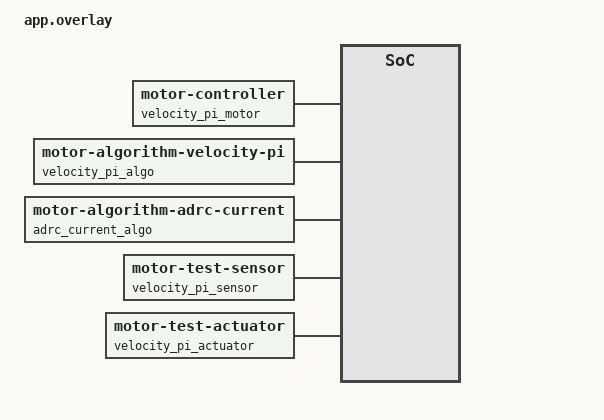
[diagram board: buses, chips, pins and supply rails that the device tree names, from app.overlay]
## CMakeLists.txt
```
# Copyright (c) 2026 Freedom Veiculos Eletricos
# SPDX-License-Identifier: Apache-2.0

cmake_minimum_required(VERSION 3.20.0)
find_package(Zephyr REQUIRED HINTS $ENV{ZEPHYR_BASE})
project(motor_algo_velocity_pi_test)

target_sources(app PRIVATE src/main.c ../common/motor_test_fake.c)
target_include_directories(app PRIVATE ../common
			   ${CMAKE_CURRENT_SOURCE_DIR}/../../../subsys/motor/include)
```

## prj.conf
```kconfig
CONFIG_ZTEST=y
CONFIG_FORTIFY_SOURCE_NONE=y

CONFIG_MOTOR_CONTROL_TEST_API=y
CONFIG_MOTOR_CONTROL_LIB=y
CONFIG_MOTOR_SUBSYS=y
CONFIG_MOTOR_SUBSYS_AUTO_INIT=n
```

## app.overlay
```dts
/ {
	velocity_pi_motor: motor-controller {
		compatible = "zephyr,motor-controller";
		status = "okay";

		sensor = <&velocity_pi_sensor>;
		actuator = <&velocity_pi_actuator>;
		algorithm = <&velocity_pi_algo &adrc_current_algo>;
	};

	velocity_pi_algo: motor-algorithm-velocity-pi {
		compatible = "zephyr,motor-algorithm-velocity-pi";
		status = "okay";

		velocity-pi-kp-milli = <1000>;
		velocity-pi-ki-milli = <100>;
		velocity-pll-kp-milli = <20000>;
		velocity-pll-ki-milli = <100000>;
		i-max-ma = <3000>;
	};

	adrc_current_algo: motor-algorithm-adrc-current {
		compatible = "zephyr,motor-algorithm-adrc-current";
		status = "okay";

		adrc-current-kp-milli = <1000>;
		adrc-current-b0-milli = <1000>;
		adrc-current-beta1-milli = <0>;
		adrc-current-beta2-milli = <0>;
		adrc-current-out-min-milli = <(-1000)>;
		adrc-current-out-max-milli = <1000>;
		i-max-ma = <5000>;
	};

	velocity_pi_sensor: motor-test-sensor {
		compatible = "zephyr,motor-test-sensor";
		status = "okay";
	};

	velocity_pi_actuator: motor-test-actuator {
		compatible = "zephyr,motor-test-actuator";
		status = "okay";
		pwm-frequency = <20000>;
		slow-sample-div = <10>;
	};
};
```

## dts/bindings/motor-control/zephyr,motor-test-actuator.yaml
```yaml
# Copyright (c) 2026 Zephyr Motor Control Contributors
# SPDX-License-Identifier: Apache-2.0

description: Test-only motor actuator binding for native_sim unit tests.

compatible: "zephyr,motor-test-actuator"

include: base.yaml

properties:
  pwm-frequency:
    type: int
    required: true
    description: Fake actuator PWM frequency in Hz.

  slow-sample-div:
    type: int
    default: 10
    description: Outer-loop rate divisor relative to PWM period.
```

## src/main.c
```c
/*
 * Copyright (c) 2026 Zephyr Motor Control Contributors
 *
 * SPDX-License-Identifier: Apache-2.0
 */

#include <math.h>

#include <zephyr/device.h>
#include <zephyr/kernel.h>
#include <zephyr/subsys/motor/algorithms/velocity_pi/motor_algo_velocity_pi.h>
#include <zephyr/subsys/motor/motor.h>
#include <zephyr/subsys/motor/motor_subsys.h>
#include <zephyr/ztest.h>

#include "motor_algo_velocity_pi_priv.h"
#include "motor_test_fake.h"

#ifndef M_PI
#define M_PI 3.14159265358979323846
#endif

static struct motor_test_fake velocity_pi_fake;

DEVICE_DT_DEFINE(DT_NODELABEL(velocity_pi_sensor), motor_test_fake_sensor_init, NULL,
		 &velocity_pi_fake, NULL, POST_KERNEL, CONFIG_KERNEL_INIT_PRIORITY_DEVICE,
		 &motor_test_fake_sensor_ops);
DEVICE_DT_DEFINE(DT_NODELABEL(velocity_pi_actuator), motor_test_fake_actuator_init, NULL,
		 &velocity_pi_fake, NULL, POST_KERNEL, CONFIG_KERNEL_INIT_PRIORITY_DEVICE,
		 &motor_test_fake_actuator_ops);

static void *suite_setup(void)
{
	zassert_equal(motor_subsys_init(), 0, NULL);
	return NULL;
}

ZTEST_SUITE(motor_algo_velocity_pi_suite, NULL, suite_setup, NULL, NULL, NULL);

ZTEST(motor_algo_velocity_pi_suite, test_rejects_invalid_limits)
{
	motor_t motor = motor_subsys_get_by_label("velocity_pi_motor");
	struct motor_velocity_pi_limits bad = {
		.i_max_a = 0.0f,
	};

	zassert_not_null(motor, NULL);
	zassert_equal(motor_enable(motor), 0, NULL);
	zassert_equal(motor_algo_velocity_pi_set_limits(motor, &bad), -EINVAL, NULL);
	motor_estop(motor);
}

ZTEST(motor_algo_velocity_pi_suite, test_set_velocity_and_status)
{
	motor_t motor = motor_subsys_get_by_label("velocity_pi_motor");
	struct motor_velocity_pi_state state;

	zassert_not_null(motor, NULL);
	zassert_equal(motor_enable(motor), 0, NULL);
	zassert_equal(motor_algo_velocity_pi_set_velocity(motor, 10.0f), 0, NULL);
	zassert_equal(motor_algo_velocity_pi_get_state(motor, &state), 0, NULL);
	zassert_within(state.v_ref_rad_s, 10.0f, 1e-6f, NULL);
	motor_estop(motor);
}

ZTEST(motor_algo_velocity_pi_suite, test_pll_tracks_constant_speed_angle)
{
	struct motor_algo_velocity_pi_data vel = {
		MOTOR_ALGO_VELOCITY_PI_BASE_INITIALIZER
		.state = {0},
		.params =
			{
				.kp = 0.1f,
				.ki = 0.0f,
				.pll_kp = 40.0f,
				.pll_ki = 400.0f,
			},
		.limits = {.i_max_a = 3.0f},
		.timing = {.control_loop_dt_s = 10.0f / 20000.0f},
	};
	struct motor_sense_bundle sense = {0};
	struct motor_block_in in = {.sense = &sense};
	struct motor_block_out out = {0};
	const float omega = 5.0f;
	const float dt = vel.timing.control_loop_dt_s;
	float theta = 0.0f;

	motor_velocity_pi_block_set_params(&vel.base);
	vel.state.v_ref_rad_s = omega;

	for (int i = 0; i < 200; i++) {
		theta += omega * dt;
		while (theta > (float)M_PI) {
			theta -= 2.0f * (float)M_PI;
		}
		sense.angle_rad = theta;
		sense.angle_valid = true;
		motor_velocity_pi_block_entry(&vel.base, &in, &out);
	}

	zassert_true(out.has_current_ref, NULL);
	zassert_within(vel.state.omega_hat_rad_s, omega, 1.0f, NULL);
}

static struct motor_algo_velocity_pi_data make_open_loop_startup_vel(float startup_a)
{
	struct motor_algo_velocity_pi_data vel = {
		MOTOR_ALGO_VELOCITY_PI_BASE_INITIALIZER
		.state = {0},
		.params =
			{
				.kp = 0.1f,
				.ki = 1.0f,
				.pll_kp = 40.0f,
				.pll_ki = 400.0f,
			},
		.limits = {.i_max_a = 3.0f, .open_loop_startup_a = startup_a},
		.timing = {.control_loop_dt_s = 0.001f},
	};

	motor_velocity_pi_block_set_params(&vel.base);

	return vel;
}

ZTEST(motor_algo_velocity_pi_suite, test_open_loop_startup_follows_command_sign)
{
	struct motor_algo_velocity_pi_data vel = make_open_loop_startup_vel(0.8f);
	struct motor_sense_bundle sense = {.angle_valid = false};
	struct motor_block_in in = {.sense = &sense};
	struct motor_block_out out = {0};

	vel.state.v_ref_rad_s = 50.0f;
	motor_velocity_pi_block_entry(&vel.base, &in, &out);
	zassert_true(out.has_current_ref, NULL);
	zassert_within(out.current_ref_a, 0.8f, 1e-6f, NULL);

	vel.state.v_ref_rad_s = -50.0f;
	motor_velocity_pi_block_entry(&vel.base, &in, &out);
	zassert_within(out.current_ref_a, -0.8f, 1e-6f, NULL);

	vel.state.v_ref_rad_s = 0.0f;
	motor_velocity_pi_block_entry(&vel.base, &in, &out);
	zassert_within(out.current_ref_a, 0.0f, 1e-6f, "a zero command must not push current");
}

ZTEST(motor_algo_velocity_pi_suite, test_open_loop_startup_hands_over_to_closed_loop)
{
	struct motor_algo_velocity_pi_data vel = make_open_loop_startup_vel(0.8f);
	struct motor_sense_bundle sense = {.angle_valid = false};
	struct motor_block_in in = {.sense = &sense};
	struct motor_block_out out = {0};

	vel.state.v_ref_rad_s = 50.0f;
	for (int i = 0; i < 100; i++) {
		motor_velocity_pi_block_entry(&vel.base, &in, &out);
	}
	zassert_within(vel.i_integral, 0.8f, 1e-6f,
		       "the integrator must carry the startup current, not wind up");

	/* A small error keeps the first closed-loop reference off i_max, where
	 * a missing preload would show: kp * 5 alone is only 0.5 A.
	 */
	vel.state.v_ref_rad_s = 5.0f;
	sense.angle_valid = true;
	sense.angle_rad = 0.1f;
	motor_velocity_pi_block_entry(&vel.base, &in, &out);

	zassert_true(vel.pll_primed, "the PLL must re-prime on the first valid angle");
	zassert_within(vel.state.theta_hat_rad, 0.1f, 1e-6f, NULL);
	/* The re-primed PLL reads omega_hat = 0, so the error is the whole 5 rad/s. */
	zassert_within(out.current_ref_a, 0.8f + 0.1f * 5.0f + 1.0f * 0.001f * 5.0f, 1e-4f,
		       "the first closed-loop reference must start from the startup current");
}

ZTEST(motor_algo_velocity_pi_suite, test_open_loop_with_zero_command_clears_integrator)
{
	struct motor_algo_velocity_pi_data vel = make_open_loop_startup_vel(0.8f);
	struct motor_sense_bundle sense = {.angle_valid = false};
	struct motor_block_in in = {.sense = &sense};
	struct motor_block_out out = {0};

	vel.i_integral = 1.5f;
	vel.state.v_ref_rad_s = 0.0f;
	motor_velocity_pi_block_entry(&vel.base, &in, &out);

	zassert_within(vel.i_integral, 0.0f, 1e-6f,
		       "a stop below the valid band must not leave current preloaded");
}

ZTEST(motor_algo_velocity_pi_suite, test_without_startup_current_reference_is_held)
{
	struct motor_algo_velocity_pi_data vel = make_open_loop_startup_vel(0.0f);
	struct motor_sense_bundle sense = {.angle_valid = false};
	struct motor_block_in in = {.sense = &sense};
	struct motor_block_out out = {0};

	vel.state.i_ref_a = 1.25f;
	vel.state.v_ref_rad_s = 50.0f;

	motor_velocity_pi_block_entry(&vel.base, &in, &out);

	zassert_within(out.current_ref_a, 1.25f, 1e-6f, NULL);
}

ZTEST(motor_algo_velocity_pi_suite, test_rejects_startup_current_above_limit)
{
	motor_t motor = motor_subsys_get_by_label("velocity_pi_motor");
	struct motor_velocity_pi_limits limits = {
		.i_max_a = 3.0f,
		.open_loop_startup_a = 3.5f,
	};

	zassert_not_null(motor, NULL);
	zassert_equal(motor_algo_velocity_pi_set_limits(motor, &limits), -EINVAL, NULL);

	limits.open_loop_startup_a = -0.1f;
	zassert_equal(motor_algo_velocity_pi_set_limits(motor, &limits), -EINVAL, NULL);

	limits.open_loop_startup_a = 1.0f;
	zassert_equal(motor_algo_velocity_pi_set_limits(motor, &limits), 0, NULL);
}

ZTEST(motor_algo_velocity_pi_suite, test_pi_saturates_current_ref)
{
	struct motor_algo_velocity_pi_data vel = {
		MOTOR_ALGO_VELOCITY_PI_BASE_INITIALIZER
		.state = {0},
		.params =
			{
				.kp = 10.0f,
				.ki = 0.0f,
				.pll_kp = 0.0f,
				.pll_ki = 0.0f,
			},
		.limits = {.i_max_a = 1.5f},
		.timing = {.control_loop_dt_s = 0.001f},
		.pll_primed = true,
	};
	struct motor_sense_bundle sense = {
		.angle_rad = 0.0f,
		.angle_valid = true,
	};
	struct motor_block_in in = {.sense = &sense};
	struct motor_block_out out = {0};

	motor_velocity_pi_block_set_params(&vel.base);
	vel.state.v_ref_rad_s = 100.0f;
	vel.state.theta_hat_rad = 0.0f;
	vel.state.omega_hat_rad_s = 0.0f;

	motor_velocity_pi_block_entry(&vel.base, &in, &out);

	zassert_true(out.has_current_ref, NULL);
	zassert_within(out.current_ref_a, 1.5f, 1e-4f, NULL);
}
```
